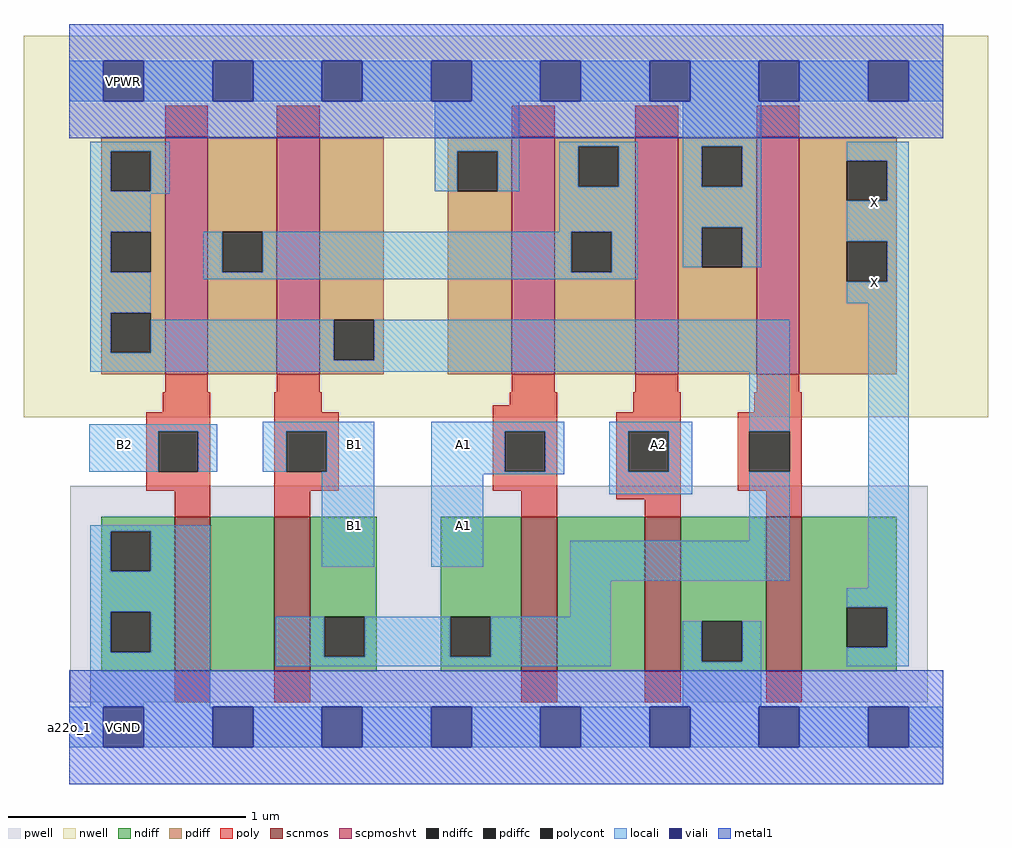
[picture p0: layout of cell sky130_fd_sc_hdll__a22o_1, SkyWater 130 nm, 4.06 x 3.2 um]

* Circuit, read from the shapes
.subckt sky130_fd_sc_hdll__a22o_1 A1 A2 B1 B2 VGND VNB VPB VPWR X
XM1 n1 B2 VGND VNB sky130_fd_pr__nfet_01v8 w=0.65 l=0.15
XM2 n2 B1 n1 VNB sky130_fd_pr__nfet_01v8 w=0.65 l=0.15
XM3 n3 A1 n2 VNB sky130_fd_pr__nfet_01v8 w=0.65 l=0.15
XM4 VGND A2 n3 VNB sky130_fd_pr__nfet_01v8 w=0.65 l=0.15
XM5 X n2 VGND VNB sky130_fd_pr__nfet_01v8 w=0.65 l=0.15
XM6 n4 B2 n2 VPB sky130_fd_pr__pfet_01v8_hvt w=1 l=0.18
XM7 n2 B1 n4 VPB sky130_fd_pr__pfet_01v8_hvt w=1 l=0.18
XM8 n4 A1 VPWR VPB sky130_fd_pr__pfet_01v8_hvt w=1 l=0.18
XM9 VPWR A2 n4 VPB sky130_fd_pr__pfet_01v8_hvt w=1 l=0.18
XM10 X n2 VPWR VPB sky130_fd_pr__pfet_01v8_hvt w=1 l=0.18
.ends

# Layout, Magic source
magic
tech sky130A
magscale 1 2
<< nwell >>
rect -38 261 774 582
<< pwell >>
rect 1 21 723 203
rect 29 -17 63 21
<< scnmos >>
rect 89 47 119 177
rect 173 47 203 177
rect 381 47 411 177
rect 485 47 515 177
rect 587 47 617 177
<< scpmoshvt >>
rect 81 297 117 497
rect 175 297 211 497
rect 373 297 409 497
rect 477 297 513 497
rect 579 297 615 497
<< ndiff >>
rect 27 165 89 177
rect 27 131 35 165
rect 69 131 89 165
rect 27 97 89 131
rect 27 63 35 97
rect 69 63 89 97
rect 27 47 89 63
rect 119 47 173 177
rect 203 93 259 177
rect 203 59 215 93
rect 249 59 259 93
rect 203 47 259 59
rect 313 93 381 177
rect 313 59 321 93
rect 355 59 381 93
rect 313 47 381 59
rect 411 47 485 177
rect 515 89 587 177
rect 515 55 533 89
rect 567 55 587 89
rect 515 47 587 55
rect 617 101 697 177
rect 617 67 655 101
rect 689 67 697 101
rect 617 47 697 67
<< pdiff >>
rect 27 485 81 497
rect 27 451 35 485
rect 69 451 81 485
rect 27 417 81 451
rect 27 383 35 417
rect 69 383 81 417
rect 27 349 81 383
rect 27 315 35 349
rect 69 315 81 349
rect 27 297 81 315
rect 117 417 175 497
rect 117 383 129 417
rect 163 383 175 417
rect 117 297 175 383
rect 211 343 265 497
rect 211 309 223 343
rect 257 309 265 343
rect 211 297 265 309
rect 319 485 373 497
rect 319 451 327 485
rect 361 451 373 485
rect 319 297 373 451
rect 409 489 477 497
rect 409 455 429 489
rect 463 455 477 489
rect 409 417 477 455
rect 409 383 423 417
rect 457 383 477 417
rect 409 297 477 383
rect 513 489 579 497
rect 513 455 533 489
rect 567 455 579 489
rect 513 421 579 455
rect 513 387 533 421
rect 567 387 579 421
rect 513 297 579 387
rect 615 477 697 497
rect 615 443 655 477
rect 689 443 697 477
rect 615 409 697 443
rect 615 375 655 409
rect 689 375 697 409
rect 615 297 697 375
<< ndiffc >>
rect 35 131 69 165
rect 35 63 69 97
rect 215 59 249 93
rect 321 59 355 93
rect 533 55 567 89
rect 655 67 689 101
<< pdiffc >>
rect 35 451 69 485
rect 35 383 69 417
rect 35 315 69 349
rect 129 383 163 417
rect 223 309 257 343
rect 327 451 361 485
rect 429 455 463 489
rect 423 383 457 417
rect 533 455 567 489
rect 533 387 567 421
rect 655 443 689 477
rect 655 375 689 409
<< poly >>
rect 81 497 117 523
rect 175 497 211 523
rect 373 497 409 523
rect 477 497 513 523
rect 579 497 615 523
rect 81 282 117 297
rect 175 282 211 297
rect 373 282 409 297
rect 477 282 513 297
rect 579 282 615 297
rect 79 265 119 282
rect 65 249 119 265
rect 65 215 75 249
rect 109 215 119 249
rect 65 199 119 215
rect 89 177 119 199
rect 173 265 213 282
rect 371 271 411 282
rect 173 249 227 265
rect 173 215 183 249
rect 217 215 227 249
rect 173 199 227 215
rect 357 249 411 271
rect 475 265 515 282
rect 577 265 617 282
rect 357 215 367 249
rect 401 215 411 249
rect 357 199 411 215
rect 173 177 203 199
rect 381 177 411 199
rect 461 249 515 265
rect 461 215 471 249
rect 505 215 515 249
rect 461 192 515 215
rect 563 249 617 265
rect 563 215 573 249
rect 607 215 617 249
rect 563 199 617 215
rect 485 177 515 192
rect 587 177 617 199
rect 89 21 119 47
rect 173 21 203 47
rect 381 21 411 47
rect 485 21 515 47
rect 587 21 617 47
<< polycont >>
rect 75 215 109 249
rect 183 215 217 249
rect 367 215 401 249
rect 471 215 505 249
rect 573 215 607 249
<< locali >>
rect 0 527 29 561
rect 63 527 121 561
rect 155 527 213 561
rect 247 527 305 561
rect 339 527 397 561
rect 431 527 489 561
rect 523 527 581 561
rect 615 527 673 561
rect 707 527 736 561
rect 18 485 85 493
rect 18 451 35 485
rect 69 451 85 485
rect 308 485 379 527
rect 308 451 327 485
rect 361 451 379 485
rect 413 489 479 493
rect 413 455 429 489
rect 463 455 479 489
rect 18 449 85 451
rect 18 417 69 449
rect 413 417 479 455
rect 18 383 35 417
rect 18 349 69 383
rect 113 383 129 417
rect 163 383 423 417
rect 457 383 479 417
rect 517 489 583 527
rect 517 455 533 489
rect 567 455 583 489
rect 517 421 583 455
rect 517 387 533 421
rect 567 387 583 421
rect 655 477 707 493
rect 689 443 707 477
rect 655 409 707 443
rect 113 377 479 383
rect 689 375 707 409
rect 655 357 707 375
rect 18 315 35 349
rect 69 315 223 343
rect 18 309 223 315
rect 257 309 607 343
rect 18 299 607 309
rect 17 249 125 255
rect 17 215 75 249
rect 109 215 125 249
rect 163 249 257 257
rect 163 215 183 249
rect 217 215 257 249
rect 18 165 119 170
rect 18 131 35 165
rect 69 131 119 165
rect 213 135 257 215
rect 305 249 417 257
rect 305 215 367 249
rect 401 215 417 249
rect 305 213 417 215
rect 455 249 525 257
rect 455 215 471 249
rect 505 215 525 249
rect 305 135 349 213
rect 455 196 525 215
rect 573 249 607 299
rect 573 157 607 215
rect 18 97 119 131
rect 18 63 35 97
rect 69 63 119 97
rect 422 123 607 157
rect 422 93 456 123
rect 673 117 707 357
rect 18 17 119 63
rect 174 59 215 93
rect 249 59 321 93
rect 355 59 456 93
rect 655 101 707 117
rect 174 51 456 59
rect 517 55 533 89
rect 567 55 583 89
rect 517 17 583 55
rect 689 67 707 101
rect 655 51 707 67
rect 0 -17 29 17
rect 63 -17 121 17
rect 155 -17 213 17
rect 247 -17 305 17
rect 339 -17 397 17
rect 431 -17 489 17
rect 523 -17 581 17
rect 615 -17 673 17
rect 707 -17 736 17
<< viali >>
rect 29 527 63 561
rect 121 527 155 561
rect 213 527 247 561
rect 305 527 339 561
rect 397 527 431 561
rect 489 527 523 561
rect 581 527 615 561
rect 673 527 707 561
rect 29 -17 63 17
rect 121 -17 155 17
rect 213 -17 247 17
rect 305 -17 339 17
rect 397 -17 431 17
rect 489 -17 523 17
rect 581 -17 615 17
rect 673 -17 707 17
<< metal1 >>
rect 0 561 736 592
rect 0 527 29 561
rect 63 527 121 561
rect 155 527 213 561
rect 247 527 305 561
rect 339 527 397 561
rect 431 527 489 561
rect 523 527 581 561
rect 615 527 673 561
rect 707 527 736 561
rect 0 496 736 527
rect 0 17 736 48
rect 0 -17 29 17
rect 63 -17 121 17
rect 155 -17 213 17
rect 247 -17 305 17
rect 339 -17 397 17
rect 431 -17 489 17
rect 523 -17 581 17
rect 615 -17 673 17
rect 707 -17 736 17
rect 0 -48 736 -17
<< labels >>
flabel locali s 315 221 349 255 0 FreeSans 200 0 0 0 A1
port 1 nsew signal input
flabel locali s 479 221 513 255 0 FreeSans 200 0 0 0 A2
port 2 nsew signal input
flabel locali s 661 425 695 459 0 FreeSans 200 0 0 0 X
port 9 nsew signal output
flabel locali s 30 221 64 255 0 FreeSans 200 0 0 0 B2
port 4 nsew signal input
flabel locali s 223 221 257 255 0 FreeSans 200 0 0 0 B1
port 3 nsew signal input
flabel locali s 315 153 349 187 0 FreeSans 200 0 0 0 A1
port 1 nsew signal input
flabel locali s 223 153 257 187 0 FreeSans 200 0 0 0 B1
port 3 nsew signal input
flabel locali s 661 357 695 391 0 FreeSans 200 0 0 0 X
port 9 nsew signal output
flabel metal1 s 29 527 63 561 0 FreeSans 200 0 0 0 VPWR
port 8 nsew power bidirectional
flabel metal1 s 29 -17 63 17 0 FreeSans 200 0 0 0 VGND
port 5 nsew ground bidirectional
flabel nwell s 29 527 63 561 0 FreeSans 200 0 0 0 VPB
port 7 nsew power bidirectional
flabel pwell s 29 -17 63 17 0 FreeSans 200 0 0 0 VNB
port 6 nsew ground bidirectional
rlabel comment s 0 0 0 0 4 a22o_1
<< properties >>
string LEFsite unithd
string LEFclass CORE
string FIXED_BBOX 0 0 736 544
string GDS_FILE $PDKPATH/libs.ref/sky130_fd_sc_hdll/gds/sky130_fd_sc_hdll.gds
string LEFsymmetry X Y R90
string GDS_END 76824
string GDS_START 70332
string LEFproperties maskLayoutSubType "abstract" prCellType "standard" originalViewName "layout"
<< end >>
